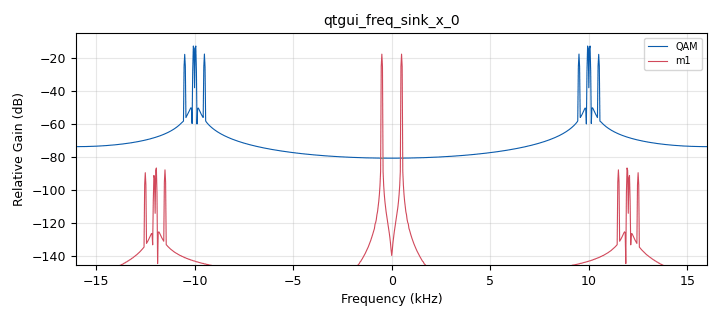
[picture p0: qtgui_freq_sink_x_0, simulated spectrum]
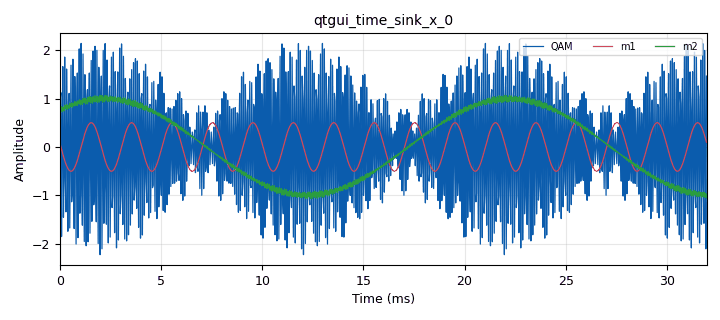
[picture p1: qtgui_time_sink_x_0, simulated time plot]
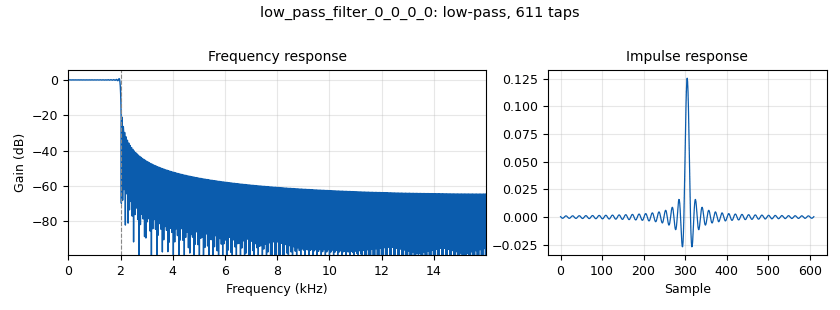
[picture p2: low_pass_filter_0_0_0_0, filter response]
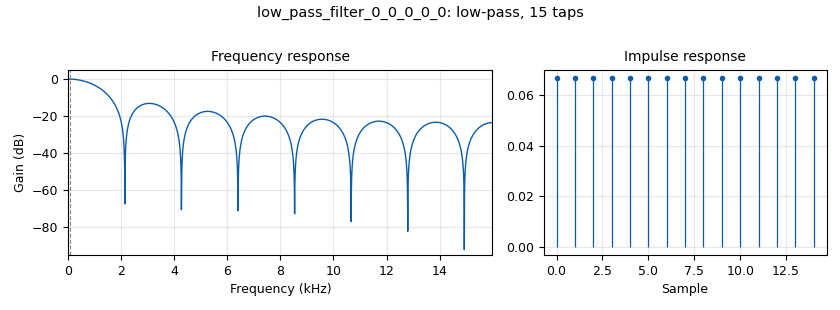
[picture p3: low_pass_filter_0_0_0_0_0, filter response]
options:
  parameters:
    generate_options: qt_gui
    id: Labo3QAM
    output_language: python
    title: Modulador QAM
  states: {}

blocks:
- name: freq1
  id: variable_qtgui_range
  parameters:
    label: Em fase
    start: '0'
    step: '25'
    stop: '500'
    value: '500'
  states: {}
- name: freq2
  id: variable_qtgui_range
  parameters:
    label: Em quadratura
    start: '0'
    step: '25'
    stop: '500'
    value: '50'
  states: {}
- name: samp_rate
  id: variable
  parameters:
    value: '32000'
  states: {}
- name: analog_sig_source_x_0_1
  id: analog_sig_source_x
  parameters:
    amp: '1'
    freq: '10000'
    offset: '0'
    phase: '0'
    samp_rate: samp_rate
    type: complex
    waveform: analog.GR_COS_WAVE
  states: {}
- name: analog_sig_source_x_0_2
  id: analog_sig_source_x
  parameters:
    amp: '1'
    freq: '10000'
    offset: '0'
    phase: '0'
    samp_rate: samp_rate
    type: complex
    waveform: analog.GR_COS_WAVE
  states: {}
- name: analog_sig_source_x_1
  id: analog_sig_source_x
  parameters:
    amp: '1'
    freq: freq1
    offset: '0'
    phase: '0'
    samp_rate: samp_rate
    type: float
    waveform: analog.GR_COS_WAVE
  states: {}
- name: analog_sig_source_x_2
  id: analog_sig_source_x
  parameters:
    amp: '2'
    freq: freq2
    offset: '0'
    phase: '0'
    samp_rate: samp_rate
    type: float
    waveform: analog.GR_COS_WAVE
  states: {}
- name: blocks_add_xx_0
  id: blocks_add_xx
  parameters:
    type: float
  states: {}
- name: blocks_complex_to_imag_0
  id: blocks_complex_to_imag
  parameters: {}
  states: {}
- name: blocks_complex_to_imag_0_0
  id: blocks_complex_to_imag
  parameters: {}
  states: {}
- name: blocks_complex_to_real_0
  id: blocks_complex_to_real
  parameters: {}
  states: {}
- name: blocks_complex_to_real_1
  id: blocks_complex_to_real
  parameters: {}
  states: {}
- name: blocks_multiply_xx_0
  id: blocks_multiply_xx
  parameters:
    type: float
  states: {}
- name: blocks_multiply_xx_0_0
  id: blocks_multiply_xx
  parameters:
    type: float
  states: {}
- name: blocks_multiply_xx_0_1
  id: blocks_multiply_xx
  parameters:
    type: float
  states: {}
- name: blocks_multiply_xx_1
  id: blocks_multiply_xx
  parameters:
    type: float
  states: {}
- name: blocks_throttle2_0
  id: blocks_throttle2
  parameters:
    samples_per_second: samp_rate
    type: complex
  states: {}
- name: low_pass_filter_0_0_0_0
  id: low_pass_filter
  parameters:
    beta: '1000'
    cutoff_freq: '2000'
    gain: '1'
    interp: '1'
    samp_rate: samp_rate
    type: interp_fir_filter_fff
    width: '50'
    win: window.WIN_RECTANGULAR
  states: {}
- name: low_pass_filter_0_0_0_0_0
  id: low_pass_filter
  parameters:
    beta: '1000'
    cutoff_freq: '50'
    gain: '1'
    interp: '1'
    samp_rate: samp_rate
    type: interp_fir_filter_fff
    width: '2000'
    win: window.WIN_RECTANGULAR
  states: {}
- name: qtgui_freq_sink_x_0
  id: qtgui_freq_sink_x
  parameters:
    autoscale: 'True'
    bw: samp_rate
    fc: '0'
    fftsize: '1024'
    grid: 'True'
    label1: QAM
    label2: m1
    nconnections: '2'
    type: float
    wintype: window.WIN_HAMMING
  states: {}
- name: qtgui_time_sink_x_0
  id: qtgui_time_sink_x
  parameters:
    autoscale: 'True'
    grid: 'True'
    label1: QAM
    label2: m1
    label3: m2
    nconnections: '3'
    size: '1024'
    srate: samp_rate
    type: float
  states: {}

connections:
- [analog_sig_source_x_0_1, '0', blocks_complex_to_imag_0, '0']
- [analog_sig_source_x_0_1, '0', blocks_complex_to_real_0, '0']
- [analog_sig_source_x_0_2, '0', blocks_complex_to_imag_0_0, '0']
- [analog_sig_source_x_0_2, '0', blocks_throttle2_0, '0']
- [analog_sig_source_x_1, '0', blocks_multiply_xx_0, '0']
- [analog_sig_source_x_2, '0', blocks_multiply_xx_1, '1']
- [blocks_add_xx_0, '0', blocks_multiply_xx_0_0, '1']
- [blocks_add_xx_0, '0', blocks_multiply_xx_0_1, '0']
- [blocks_add_xx_0, '0', qtgui_freq_sink_x_0, '0']
- [blocks_add_xx_0, '0', qtgui_time_sink_x_0, '0']
- [blocks_complex_to_imag_0, '0', blocks_multiply_xx_0_1, '1']
- [blocks_complex_to_imag_0_0, '0', blocks_multiply_xx_1, '0']
- [blocks_complex_to_real_0, '0', blocks_multiply_xx_0_0, '0']
- [blocks_complex_to_real_1, '0', blocks_multiply_xx_0, '1']
- [blocks_multiply_xx_0, '0', blocks_add_xx_0, '0']
- [blocks_multiply_xx_0_0, '0', low_pass_filter_0_0_0_0, '0']
- [blocks_multiply_xx_0_1, '0', low_pass_filter_0_0_0_0_0, '0']
- [blocks_multiply_xx_1, '0', blocks_add_xx_0, '1']
- [blocks_throttle2_0, '0', blocks_complex_to_real_1, '0']
- [low_pass_filter_0_0_0_0, '0', qtgui_freq_sink_x_0, '1']
- [low_pass_filter_0_0_0_0, '0', qtgui_time_sink_x_0, '1']
- [low_pass_filter_0_0_0_0_0, '0', qtgui_time_sink_x_0, '2']

metadata:
  file_format: 1
  grc_version: 3.10.7.0
